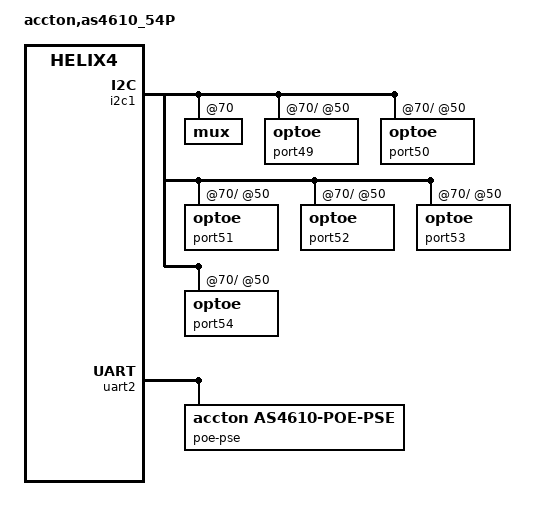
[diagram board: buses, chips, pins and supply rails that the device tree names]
/*
 * Accton AS4610 54 Device Tree Source
 *
 * Copyright 2015, Cumulus Networks, Inc.
 *
 * This program is free software; you can redistribute  it and/or modify it
 * under  the terms of  the GNU General  Public License as published by the
 * Free Software Foundation;  either version 2 of the  License, or (at your
 * option) any later version.
 *
 */
/dts-v1/;
#include "arm-accton-as4610.dtsi"

/ {
    model = "accton,as4610_54P";
    compatible = "accton,as4610_54P","brcm,helix4";
};

&i2c1 {
        mux@70 {
        // SFP+ 1
        i2c@0 {
            optoe@50 {
                label = "port49";
            };
        };

        // SFP+ 2
        i2c@1 {
            optoe@50 {
                label = "port50";
            };
        };

        // SFP+ 3
        i2c@2 {
            optoe@50 {
                label = "port51";
            };
        };

        // SFP+ 4
        i2c@3 {
            optoe@50 {
                label = "port52";
            };
        };

        // QSFP+ STK1
        i2c@4 {
            optoe@50 {
                label = "port53";
            };
        };

        // QSFP+ STK2
        i2c@5 {
            optoe@50 {
                label = "port54";
            };
        };
    };
};

&uart2 {
	poe-pse {
		compatible = "accton,as4610-poe-pse";

		#address-cells = <1>;
		#size-cells = <0>;

		port@0 {
			reg = <0>;
			brcm,device = <6>;
			brcm,primary-channel = <6>;
		};

		port@1 {
			reg = <1>;
			brcm,device = <6>;
			brcm,primary-channel = <7>;
		};

		port@2 {
			reg = <2>;
			brcm,device = <6>;
			brcm,primary-channel = <4>;
		};

		port@3 {
			reg = <3>;
			brcm,device = <6>;
			brcm,primary-channel = <5>;
		};

		port@4 {
			reg = <4>;
			brcm,device = <6>;
			brcm,primary-channel = <2>;
		};

		port@5 {
			reg = <5>;
			brcm,device = <6>;
			brcm,primary-channel = <3>;
		};

		port@6 {
			reg = <6>;
			brcm,device = <6>;
			brcm,primary-channel = <0>;
		};

		port@7 {
			reg = <7>;
			brcm,device = <6>;
			brcm,primary-channel = <1>;
		};

		port@8 {
			reg = <8>;
			brcm,device = <5>;
			brcm,primary-channel = <6>;
		};

		port@9 {
			reg = <9>;
			brcm,device = <5>;
			brcm,primary-channel = <7>;
		};

		port@10 {
			reg = <10>;
			brcm,device = <5>;
			brcm,primary-channel = <4>;
		};

		port@11 {
			reg = <11>;
			brcm,device = <5>;
			brcm,primary-channel = <5>;
		};

		port@12 {
			reg = <12>;
			brcm,device = <5>;
			brcm,primary-channel = <2>;
		};

		port@13 {
			reg = <13>;
			brcm,device = <5>;
			brcm,primary-channel = <3>;
		};

		port@14 {
			reg = <14>;
			brcm,device = <5>;
			brcm,primary-channel = <0>;
		};

		port@15 {
			reg = <15>;
			brcm,device = <5>;
			brcm,primary-channel = <1>;
		};

		port@16 {
			reg = <16>;
			brcm,device = <4>;
			brcm,primary-channel = <6>;
		};

		port@17 {
			reg = <17>;
			brcm,device = <4>;
			brcm,primary-channel = <7>;
		};

		port@18 {
			reg = <18>;
			brcm,device = <4>;
			brcm,primary-channel = <4>;
		};

		port@19 {
			reg = <19>;
			brcm,device = <4>;
			brcm,primary-channel = <5>;
		};

		port@20 {
			reg = <20>;
			brcm,device = <4>;
			brcm,primary-channel = <2>;
		};

		port@21 {
			reg = <21>;
			brcm,device = <4>;
			brcm,primary-channel = <3>;
		};

		port@22 {
			reg = <22>;
			brcm,device = <4>;
			brcm,primary-channel = <0>;
		};

		port@23 {
			reg = <23>;
			brcm,device = <4>;
			brcm,primary-channel = <1>;
		};

		port@24 {
			reg = <24>;
			brcm,device = <3>;
			brcm,primary-channel = <6>;
		};

		port@25 {
			reg = <25>;
			brcm,device = <3>;
			brcm,primary-channel = <7>;
		};

		port@26 {
			reg = <26>;
			brcm,device = <3>;
			brcm,primary-channel = <4>;
		};

		port@27 {
			reg = <27>;
			brcm,device = <3>;
			brcm,primary-channel = <5>;
		};

		port@28 {
			reg = <28>;
			brcm,device = <3>;
			brcm,primary-channel = <2>;
		};

		port@29 {
			reg = <29>;
			brcm,device = <3>;
			brcm,primary-channel = <3>;
		};

		port@30 {
			reg = <30>;
			brcm,device = <3>;
			brcm,primary-channel = <0>;
		};

		port@31 {
			reg = <31>;
			brcm,device = <3>;
			brcm,primary-channel = <1>;
		};

		port@32 {
			reg = <32>;
			brcm,device = <2>;
			brcm,primary-channel = <7>;
		};

		port@33 {
			reg = <33>;
			brcm,device = <2>;
			brcm,primary-channel = <6>;
		};

		port@34 {
			reg = <34>;
			brcm,device = <2>;
			brcm,primary-channel = <4>;
		};

		port@35 {
			reg = <35>;
			brcm,device = <2>;
			brcm,primary-channel = <5>;
		};

		port@36 {
			reg = <36>;
			brcm,device = <2>;
			brcm,primary-channel = <2>;
		};

		port@37 {
			reg = <37>;
			brcm,device = <2>;
			brcm,primary-channel = <3>;
		};

		port@38 {
			reg = <38>;
			brcm,device = <2>;
			brcm,primary-channel = <0>;
		};

		port@39 {
			reg = <39>;
			brcm,device = <2>;
			brcm,primary-channel = <1>;
		};

		port@40 {
			reg = <40>;
			brcm,device = <1>;
			brcm,primary-channel = <4>;
			brcm,alternative-channel = <5>;
		};

		port@41 {
			reg = <41>;
			brcm,device = <1>;
			brcm,primary-channel = <6>;
			brcm,alternative-channel = <7>;
		};

		port@42 {
			reg = <42>;
			brcm,device = <1>;
			brcm,primary-channel = <0>;
			brcm,alternative-channel = <1>;
		};

		port@43 {
			reg = <43>;
			brcm,device = <1>;
			brcm,primary-channel = <2>;
			brcm,alternative-channel = <3>;
		};

		port@44 {
			reg = <44>;
			brcm,device = <0>;
			brcm,primary-channel = <4>;
			brcm,alternative-channel = <5>;
		};

		port@45 {
			reg = <45>;
			brcm,device = <0>;
			brcm,primary-channel = <6>;
			brcm,alternative-channel = <7>;
		};

		port@46 {
			reg = <46>;
			brcm,device = <0>;
			brcm,primary-channel = <0>;
			brcm,alternative-channel = <1>;
		};

		port@47 {
			reg = <47>;
			brcm,device = <0>;
			brcm,primary-channel = <2>;
			brcm,alternative-channel = <3>;
		};
	};
};
